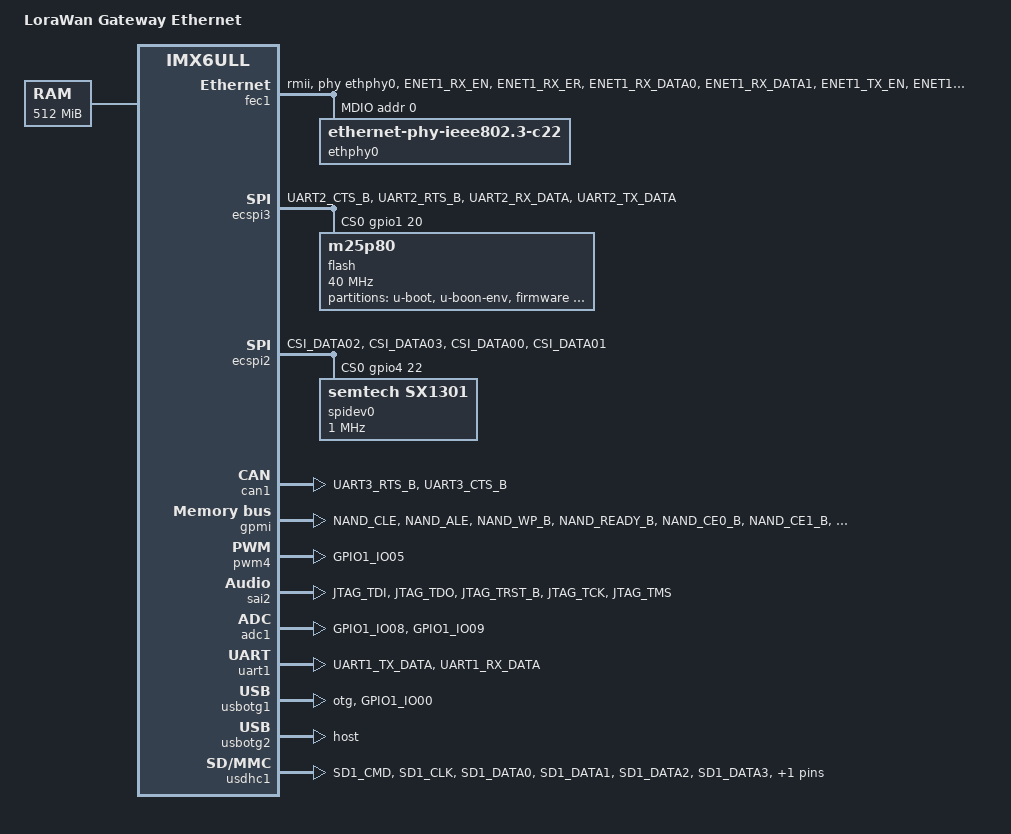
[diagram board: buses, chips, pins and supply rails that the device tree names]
/*
 * Copyright (C) 2016 Freescale Semiconductor, Inc.
 *
 * This program is free software; you can redistribute it and/or modify
 * it under the terms of the GNU General Public License version 2 as
 * published by the Free Software Foundation.
 */

/dts-v1/;

#include <dt-bindings/input/input.h>
#include "imx6ull.dtsi"

/ {
	model = "LoraWan Gateway Ethernet";
	compatible = "wirelessroad,gw-imx6ull", "fsl,imx6ull";

	chosen {
		stdout-path = &uart1;
		bootargs = "console=ttymxc0,115200 rootwait fixrtc quiet";
	};

	memory {
		reg = <0x80000000 0x20000000>;
	};

	aliases {
		cpu0 = &cpu0;
		can1 = &can1;
		can2 = &can2;
		clks = &clks;
		fec1 = &fec1;
		ecspi1 = &ecspi1;
		ecspi2 = &ecspi2;
		gpc = &gpc;
		gpmi = &gpmi;
		iomuxc = &iomuxc;
		pwm4 = &pwm4;
		adc1 = &adc1;
		usbotg1 = &usbotg1;
		usbotg2 = &usbotg2;
		usdhc1 = &usdhc1;
		wdog1 = &wdog1;
	};
	
	soc {
		aips3: aips-bus@02200000 {
			compatible = "fsl,aips-bus", "simple-bus";
			#address-cells = <1>;
			#size-cells = <1>;
			reg = <0x02200000 0x100000>;
			ranges;

			dcp: dcp@02280000 {
				compatible = "fsl,imx6sl-dcp";
				reg = <0x02280000 0x4000>;
				interrupts = <GIC_SPI 46 IRQ_TYPE_LEVEL_HIGH>,
					     <GIC_SPI 47 IRQ_TYPE_LEVEL_HIGH>,
					     <GIC_SPI 48 IRQ_TYPE_LEVEL_HIGH>;
				clocks = <&clks IMX6ULL_CLK_DCP_CLK>;
				clock-names = "dcp";
			};

			rngb: rngb@02284000 {
				compatible = "fsl,imx6sl-rng", "fsl,imx-rng", "imx-rng";
				reg = <0x02284000 0x4000>;
				interrupts = <GIC_SPI 6 IRQ_TYPE_LEVEL_HIGH>;
				clocks =  <&clks IMX6UL_CLK_DUMMY>;
			};

			iomuxc_snvs: iomuxc-snvs@02290000 {
				compatible = "fsl,imx6ull-iomuxc-snvs";
				reg = <0x02290000 0x10000>;
				pinctrl-names = "default_snvs";
			};

		};
	};
};

&cpu0 {
	operating-points = <
		/* kHz  uV */
		900000  1275000
		792000  1225000
		528000  1175000
		396000  1025000
		198000  950000
	>;
	fsl,soc-operating-points = <
		/* KHz  uV */
		900000  1250000
		792000  1175000
		528000  1175000
		396000  1175000
		198000  1175000
	>;
};

&clks {
	assigned-clocks = <&clks IMX6UL_CLK_PLL4_AUDIO_DIV>;
	assigned-clock-rates = <786432000>;
};

&fec1 {
	pinctrl-names = "default";
	pinctrl-0 = <&pinctrl_enet1>;
	phy-mode = "rmii";
	phy-handle = <&ethphy0>;
	status = "okay";
	mdio {
		#address-cells = <1>;
		#size-cells = <0>;

		ethphy0: ethernet-phy@0 {
			compatible = "ethernet-phy-ieee802.3-c22";
			reg = <0>;
		};

	};
};

&ecspi3 {
	fsl,spi-num-chipselects = <1>;
	cs-gpios = <&gpio1 20 0>;
	pinctrl-names = "default";
	pinctrl-0 = <&pinctrl_ecspi3_0>;
	status = "okay";
	dma-names = "rx", "tx";
	dmas = <&sdma 7 7 1>, <&sdma 8 7 2>;

	flash@0 {
		#address-cells = <1>;
		#size-cells = <1>;
		status = "okay";
		compatible = "m25p80";
		spi-max-frequency = <40000000>;
		reg = <0>;
		partition@0 {
			label = "u-boot";
			reg = <0x000000 0x0c0000>;
		};
		partition@1 {
			label = "u-boon-env";
			reg = <0x0c0000 0x040000>;
		};
		partition@2 {
			label = "firmware";
			reg = <0x100000 0xf00000>;
		};
		partition@3 {
			label = "factory";
			reg = <0x000000 0x1000000>;
		};
	};
};

&ecspi2 {
	fsl,spi-num-chipselects = <1>;
	cs-gpios = <&gpio4 22 0>;
	pinctrl-names = "default";
	pinctrl-0 = <&pinctrl_ecspi2_0>;
	status = "okay"; 

	dma-names = "rx", "tx";
	dmas = <&sdma 5 7 1>, <&sdma 6 7 2>;

	spidev0: spidev@1 {
		status = "okay";
		compatible = "semtech,sx1301";
		spi-max-frequency = <1000000>;
		reg = <0>;
	};
};


&can1 {
	pinctrl-names = "default";
	pinctrl-0 = <&pinctrl_flexcan0>;
	status = "okay";
};


&gpc {
	fsl,cpu_pupscr_sw2iso = <0x1>;
	fsl,cpu_pupscr_sw = <0x0>;
	fsl,cpu_pdnscr_iso2sw = <0x1>;
	fsl,cpu_pdnscr_iso = <0x1>;
	fsl,ldo-bypass = <0>; /* DCDC, ldo-enable */
};

&gpmi {
	pinctrl-names = "default";
	pinctrl-0 = <&pinctrl_gpmi_nand_1>;
	status = "okay";
	nand-on-flash-bbt;
	fsl,legacy-bch-geometry;
};

&iomuxc {
	pinctrl-names = "default";
	pinctrl-0 = <&pinctrl_hog_1>;
	imx6ul-evk {
		pinctrl_hog_1: hoggrp-1 {
			fsl,pins = <
				MX6UL_PAD_UART1_RTS_B__GPIO1_IO19	0x17059 /* SD1 CD */
			>;
		};

		pinctrl_gpmi_nand_1: gpmi-nand-1 {
			fsl,pins = <
				MX6UL_PAD_NAND_CLE__RAWNAND_CLE         0xb0b1
				MX6UL_PAD_NAND_ALE__RAWNAND_ALE         0xb0b1
				MX6UL_PAD_NAND_WP_B__RAWNAND_WP_B       0xb0b1
				MX6UL_PAD_NAND_READY_B__RAWNAND_READY_B 0xb000
				MX6UL_PAD_NAND_CE0_B__RAWNAND_CE0_B     0xb0b1
				MX6UL_PAD_NAND_CE1_B__RAWNAND_CE1_B     0xb0b1
				MX6UL_PAD_NAND_RE_B__RAWNAND_RE_B       0xb0b1
				MX6UL_PAD_NAND_WE_B__RAWNAND_WE_B       0xb0b1
				MX6UL_PAD_NAND_DATA00__RAWNAND_DATA00   0xb0b1
				MX6UL_PAD_NAND_DATA01__RAWNAND_DATA01   0xb0b1
				MX6UL_PAD_NAND_DATA02__RAWNAND_DATA02   0xb0b1
				MX6UL_PAD_NAND_DATA03__RAWNAND_DATA03   0xb0b1
				MX6UL_PAD_NAND_DATA04__RAWNAND_DATA04   0xb0b1
				MX6UL_PAD_NAND_DATA05__RAWNAND_DATA05   0xb0b1
				MX6UL_PAD_NAND_DATA06__RAWNAND_DATA06   0xb0b1
				MX6UL_PAD_NAND_DATA07__RAWNAND_DATA07   0xb0b1
			>;
		};
		
		pinctrl_adc1: adc1grp {
			fsl,pins = <
				MX6UL_PAD_GPIO1_IO08__GPIO1_IO08        0xb0
				MX6UL_PAD_GPIO1_IO09__GPIO1_IO09        0xb0
			>;
		};
		
		pinctrl_ecspi3_0: ecspi3grp-0 {
			fsl,pins = <
				MX6UL_PAD_UART2_CTS_B__ECSPI3_MOSI	0x110b1
				MX6UL_PAD_UART2_RTS_B__ECSPI3_MISO	0x110b1
				MX6UL_PAD_UART2_RX_DATA__ECSPI3_SCLK	0x110b1
				MX6UL_PAD_UART2_TX_DATA__GPIO1_IO20	0x10b0
			>;
		};

		pinctrl_ecspi2_0: ecspi2grp-0 {
			fsl,pins = <
				MX6UL_PAD_CSI_DATA02__ECSPI2_MOSI 0x110b1
				MX6UL_PAD_CSI_DATA03__ECSPI2_MISO 0x110b1
				MX6UL_PAD_CSI_DATA00__ECSPI2_SCLK 0x110b1
				MX6UL_PAD_CSI_DATA01__GPIO4_IO22 0x10b0
			>;
		};

		pinctrl_usb_otg1_id: usbotg1idgrp {
			fsl,pins = <
				MX6UL_PAD_GPIO1_IO00__ANATOP_OTG1_ID	0x17059
			>;
		};
		
		pinctrl_enet1: enet1grp {
			fsl,pins = <
				MX6UL_PAD_ENET1_RX_EN__ENET1_RX_EN	0x1b0b0
				MX6UL_PAD_ENET1_RX_ER__ENET1_RX_ER	0x1b0b0
				MX6UL_PAD_ENET1_RX_DATA0__ENET1_RDATA00	0x1b0b0
				MX6UL_PAD_ENET1_RX_DATA1__ENET1_RDATA01	0x1b0b0
				MX6UL_PAD_ENET1_TX_EN__ENET1_TX_EN	0x1b0b0
				MX6UL_PAD_ENET1_TX_DATA0__ENET1_TDATA00	0x1b0b0
				MX6UL_PAD_ENET1_TX_DATA1__ENET1_TDATA01	0x1b0b0
				MX6UL_PAD_ENET1_TX_CLK__ENET1_REF_CLK1	0x4001b031
			>;
		};


		pinctrl_flexcan0: flexcan0grp{
			fsl,pins = <
				MX6UL_PAD_UART3_RTS_B__FLEXCAN1_RX	0x1b020
				MX6UL_PAD_UART3_CTS_B__FLEXCAN1_TX	0x1b020
			>;
		};

		pinctrl_pwm4: pwm4grp {
			fsl,pins = <
				MX6UL_PAD_GPIO1_IO05__PWM4_OUT   0x110b0
			>;
		};


		pinctrl_sai2: sai2grp {
			fsl,pins = <
				MX6UL_PAD_JTAG_TDI__SAI2_TX_BCLK	0x17088
				MX6UL_PAD_JTAG_TDO__SAI2_TX_SYNC	0x17088
				MX6UL_PAD_JTAG_TRST_B__SAI2_TX_DATA	0x11088
				MX6UL_PAD_JTAG_TCK__SAI2_RX_DATA	0x11088
				MX6UL_PAD_JTAG_TMS__SAI2_MCLK		0x17088
			>;
		};

		pinctrl_uart1: uart1grp {
			fsl,pins = <
				MX6UL_PAD_UART1_TX_DATA__UART1_DCE_TX 0x1b0b1
				MX6UL_PAD_UART1_RX_DATA__UART1_DCE_RX 0x1b0b1
			>;
		};

		pinctrl_usdhc1: usdhc1grp {
			fsl,pins = <
				MX6UL_PAD_SD1_CMD__USDHC1_CMD     0x17059
				MX6UL_PAD_SD1_CLK__USDHC1_CLK     0x10071
				MX6UL_PAD_SD1_DATA0__USDHC1_DATA0 0x17059
				MX6UL_PAD_SD1_DATA1__USDHC1_DATA1 0x17059
				MX6UL_PAD_SD1_DATA2__USDHC1_DATA2 0x17059
				MX6UL_PAD_SD1_DATA3__USDHC1_DATA3 0x17059
			>;
		};

		pinctrl_usdhc1_100mhz: usdhc1grp100mhz {
			fsl,pins = <
				MX6UL_PAD_SD1_CMD__USDHC1_CMD     0x170b9
				MX6UL_PAD_SD1_CLK__USDHC1_CLK     0x100b9
				MX6UL_PAD_SD1_DATA0__USDHC1_DATA0 0x170b9
				MX6UL_PAD_SD1_DATA1__USDHC1_DATA1 0x170b9
				MX6UL_PAD_SD1_DATA2__USDHC1_DATA2 0x170b9
				MX6UL_PAD_SD1_DATA3__USDHC1_DATA3 0x170b9
			>;
		};

		pinctrl_usdhc1_200mhz: usdhc1grp200mhz {
			fsl,pins = <
				MX6UL_PAD_SD1_CMD__USDHC1_CMD     0x170f9
				MX6UL_PAD_SD1_CLK__USDHC1_CLK     0x100f9
				MX6UL_PAD_SD1_DATA0__USDHC1_DATA0 0x170f9
				MX6UL_PAD_SD1_DATA1__USDHC1_DATA1 0x170f9
				MX6UL_PAD_SD1_DATA2__USDHC1_DATA2 0x170f9
				MX6UL_PAD_SD1_DATA3__USDHC1_DATA3 0x170f9
			>;
		};
		
		pinctrl_wdog: wdoggrp {
			fsl,pins = <
				MX6UL_PAD_LCD_RESET__WDOG1_WDOG_ANY    0x30b0
			>;
		};

	};
};

&pwm4 {
	pinctrl-names = "default";
	pinctrl-0 = <&pinctrl_pwm4>;
	status = "okay";
};


&sai2 {
	pinctrl-names = "default";
	pinctrl-0 = <&pinctrl_sai2>;

	assigned-clocks = <&clks IMX6UL_CLK_SAI2_SEL>,
			  <&clks IMX6UL_CLK_SAI2>;
	assigned-clock-parents = <&clks IMX6UL_CLK_PLL4_AUDIO_DIV>;
	assigned-clock-rates = <0>, <12288000>;

	status = "okay";
};

&adc1 {
	pinctrl-names = "default";
	pinctrl-0 = <&pinctrl_adc1>;
/*	vref-supply = <&reg_vref_3v3>; */
	status = "okay";
};

&uart1 {
	pinctrl-names = "default";
	pinctrl-0 = <&pinctrl_uart1>;
	status = "okay";
};

&usbotg1 {
	dr_mode = "otg";
	srp-disable;
	hnp-disable;
	adp-disable;
	pinctrl-0 = <&pinctrl_usb_otg1_id>;
	disable-over-current;
	status = "okay";
};

&usbotg2 {
	dr_mode = "host";
	disable-over-current;
	status = "okay";
};

&usbphy1 {
	tx-d-cal = <0x5>;
};

&usbphy2 {
	tx-d-cal = <0x5>;
};

&usdhc1 {
	pinctrl-names = "default";
	pinctrl-0 = <&pinctrl_usdhc1>;
	cd-gpios = <&gpio1 19 GPIO_ACTIVE_LOW>;
	keep-power-in-suspend;
	enable-sdio-wakeup;
	status = "okay";
};

&wdog1 {
	pinctrl-names = "default";
	pinctrl-0 = <&pinctrl_wdog>;
	fsl,wdog_b;
};
